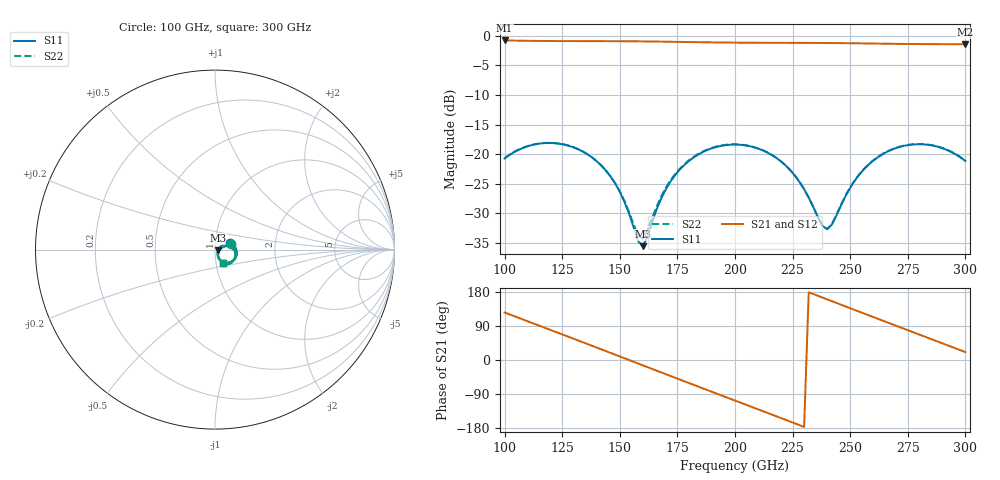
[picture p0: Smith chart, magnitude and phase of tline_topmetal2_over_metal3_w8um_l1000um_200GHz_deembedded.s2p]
! Created with skrf 2.2.0 (http://scikit-rf.org).
# GHz S DB R 50.0
! Port[1] = P1
! Port[2] = P2
!freq dBS11 angS11 dBS21 angS21 dBS12 angS12 dBS22 angS22
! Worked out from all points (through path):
!   101 points, 100 GHz to 300 GHz, reference 50 ohm
!   highest |S21| = -0.80 dB at 100 GHz (marker M1); lowest = -1.4 dB at 300 GHz (marker M2)
!   group delay of S21, straight-line fit = 6.46 ps
!   lowest |S11| = -35.5 dB at 160 GHz (marker M3), VSWR 1.03, Z = 51.7 - j0.407 ohm
!   |S11| at or under -10 dB: start of sweep to end of sweep
!   |S22| runs from -34.2 to -18.1 dB; largest |S21 - S12| = 1.5e-13
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100  -20.74 22.0  -0.80 125.4  -0.80 125.4  -20.68 20.8
108  -18.94 6.8  -0.85 106.8  -0.85 106.8  -18.90 5.9
116  -18.17 -9.1  -0.88 88.3  -0.88 88.3  -18.15 -9.7
124  -18.25 -25.0  -0.90 69.9  -0.90 69.9  -18.23 -25.4
134  -19.57 -44.5  -0.91 46.7  -0.91 46.7  -19.56 -44.5
148  -24.96 -66.4  -0.93 14.0  -0.93 14.0  -24.91 -65.1
158  -34.71 -40.4  -0.95 -9.4  -0.95 -9.4  -33.75 -36.8
160  -35.53 -13.6  -0.96 -14.1  -0.96 -14.1  -34.25 -13.6
168  -27.45 30.2  -1.00 -32.8  -1.00 -32.8  -27.10 26.3
176  -22.62 23.4  -1.04 -51.5  -1.04 -51.5  -22.46 20.5
184  -20.07 10.1  -1.09 -70.1  -1.09 -70.1  -19.97 7.6
192  -18.77 -4.8  -1.13 -88.6  -1.13 -88.6  -18.70 -7.0
200  -18.38 -20.0  -1.17 -107.0  -1.17 -107.0  -18.33 -22.0
210  -19.05 -38.7  -1.19 -130.1  -1.19 -130.1  -19.02 -40.6
220  -21.23 -55.7  -1.20 -153.3  -1.20 -153.3  -21.22 -57.4
228  -24.67 -64.5  -1.21 -171.9  -1.21 -171.9  -24.68 -66.1
234  -28.93 -60.2  -1.22 174.1  -1.22 174.1  -28.96 -61.5
240  -32.68 -21.5  -1.23 160.0  -1.23 160.0  -32.63 -22.3
254  -23.44 16.9  -1.29 127.3  -1.29 127.3  -23.35 15.3
268  -19.24 -3.9  -1.36 94.8  -1.36 94.8  -19.19 -5.5
282  -18.35 -29.4  -1.41 62.5  -1.41 62.5  -18.31 -31.0
300  -21.16 -59.9  -1.44 20.8  -1.44 20.8  -21.12 -61.0
